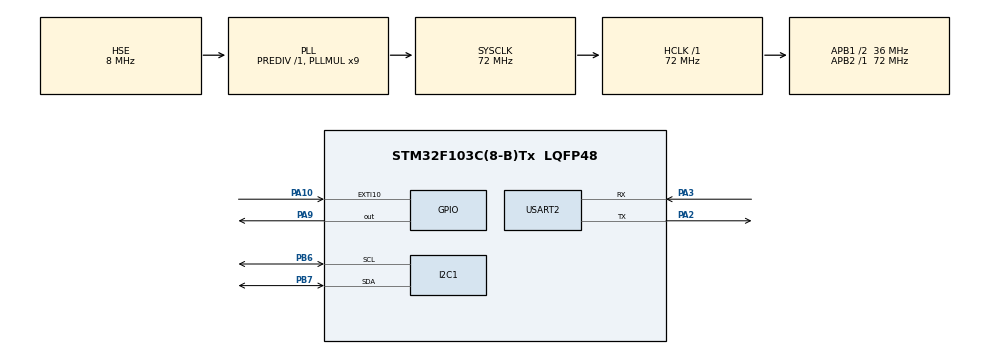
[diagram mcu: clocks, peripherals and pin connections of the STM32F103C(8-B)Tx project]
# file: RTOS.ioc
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FREERTOS.Tasks01=defaultTask,0,128,StartDefaultTask,Default,NULL,Dynamic,NULL,NULL
I2C1.I2C_Mode=I2C_Fast
Mcu.Family=STM32F1
Mcu.Name=STM32F103C(8-B)Tx
Mcu.Package=LQFP48
NVIC.EXTI15_10_IRQn=true\:5\:0\:true\:false\:true\:true\:true\:true\:true
NVIC.I2C1_ER_IRQn=true\:5\:0\:false\:false\:true\:true\:true\:true\:true
NVIC.I2C1_EV_IRQn=true\:5\:0\:false\:false\:true\:true\:true\:true\:true
NVIC.PriorityGroup=NVIC_PRIORITYGROUP_4
NVIC.TIM4_IRQn=true\:15\:0\:false\:false\:true\:false\:false\:true\:true
NVIC.TimeBase=TIM4_IRQn
NVIC.TimeBaseIP=TIM4
NVIC.USART2_IRQn=true\:5\:0\:false\:false\:true\:true\:true\:true\:true
PA10.Signal=GPXTI10
PA13.Mode=Serial_Wire
PA13.Signal=SYS_JTMS-SWDIO
PA14.Mode=Serial_Wire
PA14.Signal=SYS_JTCK-SWCLK
PA2.Mode=Asynchronous
PA2.Signal=USART2_TX
PA3.Mode=Asynchronous
PA3.Signal=USART2_RX
PA9.Signal=GPIO_Output
PB6.Mode=I2C
PB6.Signal=I2C1_SCL
PB7.Mode=I2C
PB7.Signal=I2C1_SDA
PD0-OSC_IN.Mode=HSE-External-Oscillator
PD0-OSC_IN.Signal=RCC_OSC_IN
PD1-OSC_OUT.Mode=HSE-External-Oscillator
PD1-OSC_OUT.Signal=RCC_OSC_OUT
ProjectManager.HeapSize=0x200
ProjectManager.StackSize=0x400
ProjectManager.TargetToolchain=CMake
RCC.AHBFreq_Value=72000000
RCC.APB1CLKDivider=RCC_HCLK_DIV2
RCC.APB1Freq_Value=36000000
RCC.APB1TimFreq_Value=72000000
RCC.APB2Freq_Value=72000000
RCC.APB2TimFreq_Value=72000000
RCC.HCLKFreq_Value=72000000
RCC.PLLMUL=RCC_PLL_MUL9
RCC.PLLSourceVirtual=RCC_PLLSOURCE_HSE
RCC.SYSCLKFreq_VALUE=72000000
RCC.SYSCLKSource=RCC_SYSCLKSOURCE_PLLCLK
RCC.USBFreq_Value=72000000
USART2.VirtualMode=VM_ASYNC
VP_FREERTOS_VS_CMSIS_V1.Mode=CMSIS_V1
VP_SYS_VS_tim4.Mode=TIM4
board=custom

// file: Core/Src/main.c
/* USER CODE BEGIN Header */
/**
  ******************************************************************************
  * @file           : main.c
  * @brief          : Main program body
  ******************************************************************************
  * @attention
  *
  * Copyright (c) 2025 STMicroelectronics.
  * All rights reserved.
  *
  * This software is licensed under terms that can be found in the LICENSE file
  * in the root directory of this software component.
  * If no LICENSE file comes with this software, it is provided AS-IS.
  *
  ******************************************************************************
  */
/* USER CODE END Header */
#include "main.h"
#include "cmsis_os.h"
#include "i2c.h"
#include "usart.h"
#include "gpio.h"

/* USER CODE BEGIN Includes */
#include <stdio.h>

#include "command.h"
#include "mpu_filter.h"
#include "oled.h"
#include "mpu6050.h"
#include "mpu_filter.h"
/* USER CODE END Includes */

/* USER CODE BEGIN PTD */
#define  QUEUE_LEN    4   /* 队列的长度，最大可包含多少个消息 */
#define  QUEUE_SIZE   4   /* 队列中每个消息大小（字节） */

static TaskHandle_t APPTaskCreate_Handel = NULL;
static TaskHandle_t UART_Task_Handel = NULL;
static TaskHandle_t KEY_Task_Handel = NULL;
static TaskHandle_t LED_Task_Handel = NULL;
static TaskHandle_t OLED_Task_Handel = NULL;
static TaskHandle_t MPU6050_Task_Handel = NULL;
/* USER CODE END PTD */

/* USER CODE BEGIN PD */
uint8_t readBuffer[128];
QueueHandle_t Queue = NULL;
char buf[25]={0};
/* USER CODE END PD */

void SystemClock_Config(void);
void MX_FREERTOS_Init(void);
/* USER CODE BEGIN PFP */
void SystemClock_Config(void);
void MX_FREERTOS_Init(void);
/* USER CODE END PFP */

/* USER CODE BEGIN 0 */
static void APPCreate_Task(void);
static void UART_Task(void *pvParameters);
static void KEY_Task(void *pvParameters);
static void LED_Task(void *pvParameters);
static void OLED_Task(void *pvParameters);
static void MPU6050_Task(void *pvParameters);

void HAL_UARTEx_RxEventCallback(UART_HandleTypeDef *huart, uint16_t Size) {
  if (huart == &huart2) {
    Command_Write(readBuffer , Size);
    HAL_UARTEx_ReceiveToIdle_IT(&huart2, readBuffer, sizeof(readBuffer));
  }
}

void HAL_GPIO_EXTI_Callback(uint16_t GPIO_Pin) {
  BaseType_t xHigherPriorityTaskWoken = pdFALSE;
  int sum = 10;
  if (GPIO_Pin == GPIO_PIN_10) {
    sum = sum + 1;
    HAL_GPIO_TogglePin(GPIOA, GPIO_PIN_9);
    if (xQueueSendFromISR(Queue, &sum, &xHigherPriorityTaskWoken) == pdPASS) {
      HAL_UART_Transmit(&huart2, (uint8_t*) "key exti\r\n", sizeof("key exti\r\n"), 100);
    }
    portYIELD_FROM_ISR(xHigherPriorityTaskWoken);
  }
}

/* USER CODE END 0 */

int main(void)
{

  /* USER CODE BEGIN 1 */
  BaseType_t xReturn = pdPASS;
  /* USER CODE END 1 */

  /* MCU Configuration--------------------------------------------------------*/

  /* Reset of all peripherals, Initializes the Flash interface and the Systick. */
  HAL_Init();

  /* Configure the system clock */
  SystemClock_Config();

  /* Initialize all configured peripherals */
  MX_GPIO_Init();
  MX_USART2_UART_Init();
  MX_I2C1_Init();

  /* Call init function for freertos objects (in cmsis_os2.c) */
  MX_FREERTOS_Init();

  /* Start scheduler */
  xReturn = xTaskCreate((TaskFunction_t ) APPCreate_Task,
               (const char*    ) "APPCreate_Task",
               (uint32_t       ) 512,
               (void*          ) NULL,
               (UBaseType_t    ) 1,
               (TaskHandle_t* ) &APPTaskCreate_Handel);
  osKernelStart();

  /* We should never get here as control is now taken by the scheduler */

  /* Infinite loop */
  while (1)
  {

  }
}

void SystemClock_Config(void)
{
  RCC_OscInitTypeDef RCC_OscInitStruct = {0};
  RCC_ClkInitTypeDef RCC_ClkInitStruct = {0};

  /** Initializes the RCC Oscillators according to the specified parameters
  * in the RCC_OscInitTypeDef structure.
  */
  RCC_OscInitStruct.OscillatorType = RCC_OSCILLATORTYPE_HSE;
  RCC_OscInitStruct.HSEState = RCC_HSE_ON;
  RCC_OscInitStruct.HSEPredivValue = RCC_HSE_PREDIV_DIV1;
  RCC_OscInitStruct.HSIState = RCC_HSI_ON;
  RCC_OscInitStruct.PLL.PLLState = RCC_PLL_ON;
  RCC_OscInitStruct.PLL.PLLSource = RCC_PLLSOURCE_HSE;
  RCC_OscInitStruct.PLL.PLLMUL = RCC_PLL_MUL9;
  if (HAL_RCC_OscConfig(&RCC_OscInitStruct) != HAL_OK)
  {
    Error_Handler();
  }

  /** Initializes the CPU, AHB and APB buses clocks
  */
  RCC_ClkInitStruct.ClockType = RCC_CLOCKTYPE_HCLK|RCC_CLOCKTYPE_SYSCLK
                              |RCC_CLOCKTYPE_PCLK1|RCC_CLOCKTYPE_PCLK2;
  RCC_ClkInitStruct.SYSCLKSource = RCC_SYSCLKSOURCE_PLLCLK;
  RCC_ClkInitStruct.AHBCLKDivider = RCC_SYSCLK_DIV1;
  RCC_ClkInitStruct.APB1CLKDivider = RCC_HCLK_DIV2;
  RCC_ClkInitStruct.APB2CLKDivider = RCC_HCLK_DIV1;

  if (HAL_RCC_ClockConfig(&RCC_ClkInitStruct, FLASH_LATENCY_2) != HAL_OK)
  {
    Error_Handler();
  }
}

/* USER CODE BEGIN 4 */
static void APPCreate_Task(void) {
  BaseType_t xReturn = pdPASS;
  taskENTER_CRITICAL();

  Queue = xQueueCreate( (UBaseType_t ) QUEUE_LEN,
                        (UBaseType_t ) QUEUE_SIZE);
  if (Queue != NULL)
    HAL_UART_Transmit(&huart2, (uint8_t*) "Queue init\r\n", sizeof("Queue init\r\n"), 100);

  xReturn = xTaskCreate((TaskFunction_t ) UART_Task,
                    (const char*    ) "UART_Task",
                    (uint32_t       ) 64,
                    (void*          ) NULL,
                    (UBaseType_t    ) 16,
                    (TaskHandle_t* ) &UART_Task_Handel);
  if(pdPASS == xReturn)
    HAL_UART_Transmit(&huart2, (uint8_t*) "uart init\r\n", sizeof("uart init\r\n"), 100);

  xReturn = xTaskCreate((TaskFunction_t ) OLED_Task,
                (const char*    ) "OLED_Task",
                (uint32_t       ) 64,
                (void*          ) NULL,
                (UBaseType_t    ) 4,
                (TaskHandle_t* ) &OLED_Task_Handel);
  if(pdPASS == xReturn)
    HAL_UART_Transmit(&huart2, (uint8_t*) "oled init\r\n", sizeof("oled init\r\n"), 100);

  xReturn = xTaskCreate((TaskFunction_t ) KEY_Task,
                (const char*    ) "KEY_Task",
                (uint32_t       ) 64,
                (void*          ) NULL,
                (UBaseType_t    ) 5,
                (TaskHandle_t* ) &KEY_Task_Handel);
  if(pdPASS == xReturn)
    HAL_UART_Transmit(&huart2, (uint8_t*) "key init\r\n", sizeof("key init\r\n"), 100);

  xReturn = xTaskCreate((TaskFunction_t ) LED_Task,
                  (const char*    ) "LED_Task",
                  (uint32_t       ) 64,
                  (void*          ) NULL,
                  (UBaseType_t    ) 10,
                  (TaskHandle_t* ) &LED_Task_Handel);
  if(pdPASS == xReturn)
    HAL_UART_Transmit(&huart2, (uint8_t*) "led init\r\n", sizeof("led init\r\n"), 100);

  xReturn = xTaskCreate((TaskFunction_t ) MPU6050_Task,
                (const char*    ) "MPU6050_Task",
                (uint32_t       ) 128,
                (void*          ) NULL,
                (UBaseType_t    ) 20,
                (TaskHandle_t* ) &MPU6050_Task_Handel);
  if(pdPASS == xReturn)
    HAL_UART_Transmit(&huart2, (uint8_t*) "MPU6050 init\r\n", sizeof("MPU6050 init\r\n"), 100);

  vTaskDelete(APPTaskCreate_Handel);
  taskEXIT_CRITICAL();
}

static void UART_Task(void *pvParameters) {
  HAL_UARTEx_ReceiveToIdle_IT(&huart2, readBuffer, sizeof(readBuffer));
  static uint8_t command[50];
  int commandLength = 0;

  while (1)
  {
    vTaskDelay(50);
    commandLength = Command_GetCommand(command);
    if (commandLength != 0){
      HAL_UART_Transmit(&huart2, command, commandLength, HAL_MAX_DELAY);
      }
    }
}

static void KEY_Task(void *pvParameters) {
  int sum = 0;
  while (1) {
    if (xQueueReceive(Queue, &sum, portMAX_DELAY) == pdTRUE) {
      HAL_UART_Transmit(&huart2, (uint8_t*) "KEY DETECT\r\n", sizeof("KEY DETECT\r\n"), 100);
    }
  }
}

static void LED_Task(void *pvParameters) {
  while (1) {
    HAL_GPIO_TogglePin(GPIOA, GPIO_PIN_9);
    vTaskDelay(500);
    //HAL_UART_Transmit(&huart2, (uint8_t*) "LED TOGGLE\r\n", sizeof("LED TOGGLE\r\n"), 100);
  }
}

static void OLED_Task(void *pvParameters) {
  vTaskDelay(200);
  OLED_Init();
  OLED_NewFrame();
  OLED_PrintString(0,0,"Hello World!",&font16x16,OLED_COLOR_NORMAL);
  OLED_ShowFrame();

  vTaskDelete(OLED_Task_Handel);
}

static void MPU6050_Task(void *pvParameters) {
  static portTickType lastWakeTime;
  const TickType_t xPeriod = pdMS_TO_TICKS(20);
  lastWakeTime = xTaskGetTickCount();

  const float dt = 0.02f; // 20ms采样周期
  float roll = 0,  pitch = 0,  yaw = 0;
  MPU6050_DATA mpu_data = {};//传感器信息读取
  IMU_DATA imu_data = {};
  vTaskDelay(200);
  MPU6050_Init(0X07,0X06,0X00,0X00);
  vTaskDelay(200);
  MPU6050_TEST_WHO_AM_I();
  MPU6050_Calibrate();
  while (1) {

    vTaskDelayUntil(&lastWakeTime,xPeriod);
    mpu_data = MPU6050_ReadCalibratedData(); //这里的加速度和角速度为 m/s² * 100来进行积分计算
    imu_data = Quaternion_Update(mpu_data,dt);//四元数为[q0,-q1,-q2,-q3]，因此计算完要加负号否则roll计算出来就是反的
    ANODT_Send_Quaternion((int16_t) (imu_data.q0 * 10000), (int16_t) (-imu_data.q1 * 10000), (int16_t) (-imu_data.q2 * 10000), (int16_t) (-imu_data.q3 * 10000));
    //QuaternionToEuler(imu_data,&roll,&pitch,&yaw);

    //roll = roll * 180.0f / M_PI;
    //pitch = pitch * 180.0f / M_PI;
    //yaw = yaw * 180.0f / M_PI;

    //ANODT_Send_EULA((int16_t)(-roll*100),(int16_t)(pitch*100),(int16_t)(yaw*100));

    //OLED_NewFrame();

    //sprintf(buf,"ROLL :%d",(int)roll);
    //OLED_PrintString(0,0,buf,&font16x16,OLED_COLOR_NORMAL);

    //sprintf(buf,"PITCH :%d",(int)pitch);
    //OLED_PrintString(0,20,buf,&font16x16,OLED_COLOR_NORMAL);

    //sprintf(buf,"YAW :%d",(int)yaw);
    //OLED_PrintString(0,40,buf,&font16x16,OLED_COLOR_NORMAL);

    //OLED_ShowFrame();
  }
  vTaskDelete(MPU6050_Task_Handel);
}

/* USER CODE END 4 */

void HAL_TIM_PeriodElapsedCallback(TIM_HandleTypeDef *htim)
{
  if (htim->Instance == TIM4)
  {
    HAL_IncTick();
  }
}

void Error_Handler(void)
{
  __disable_irq();
  while (1)
  {
  }
}
